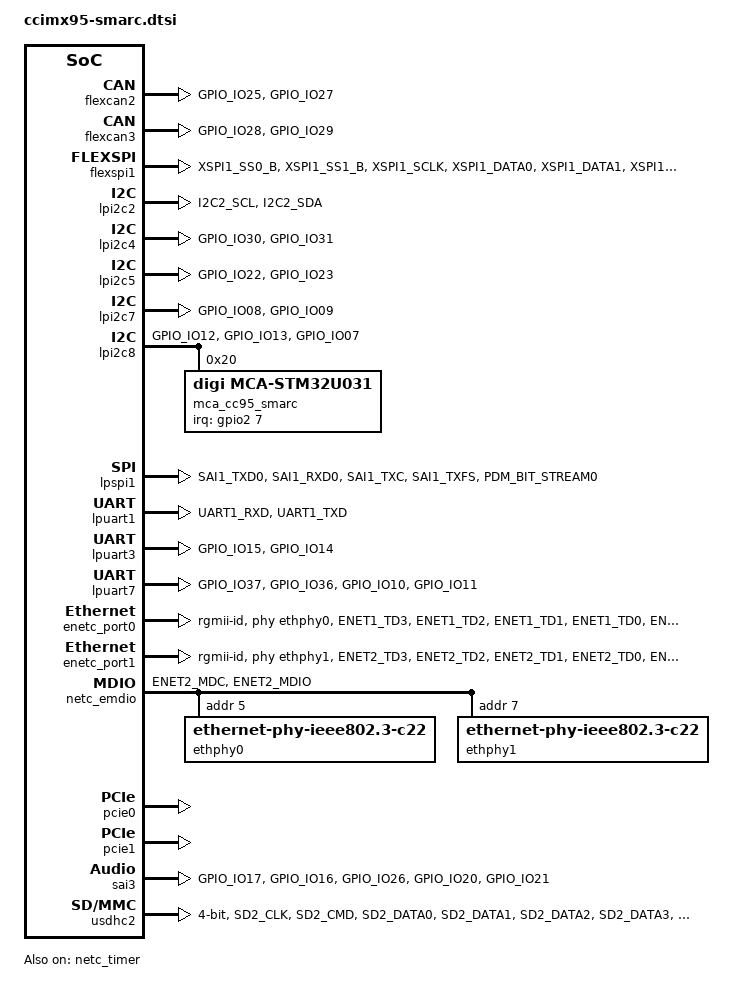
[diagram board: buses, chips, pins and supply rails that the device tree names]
// SPDX-License-Identifier: (GPL-2.0+ OR MIT)
/*
 * Copyright 2026 Digi International Inc.
 */

#include <dt-bindings/phy/phy-imx8-pcie.h>
#include <dt-bindings/pwm/pwm.h>
#include <dt-bindings/usb/pd.h>

&flexcan2 {
	pinctrl-names = "default", "sleep";
	pinctrl-0 = <&pinctrl_flexcan2>;
	pinctrl-1 = <&pinctrl_flexcan2_sleep>;
	status = "okay";
};

&flexcan3 {
	pinctrl-names = "default", "sleep";
	pinctrl-0 = <&pinctrl_flexcan3>;
	pinctrl-1 = <&pinctrl_flexcan3_sleep>;
	status = "okay";
};

&flexspi1 {
	pinctrl-names = "default", "sleep";
	pinctrl-0 = <&pinctrl_flexspi1>;
	pinctrl-1 = <&pinctrl_flexspi1_sleep>;
};

&lpi2c2 {
	pinctrl-names = "default", "sleep";
	pinctrl-0 = <&pinctrl_lpi2c2>;
	pinctrl-1 = <&pinctrl_lpi2c2_sleep>;
};

&lpi2c4 {
	pinctrl-names = "default", "sleep";
	pinctrl-0 = <&pinctrl_lpi2c4>;
	pinctrl-1 = <&pinctrl_lpi2c4_sleep>;
};

&lpi2c5 {
	pinctrl-names = "default", "sleep";
	pinctrl-0 = <&pinctrl_lpi2c5>;
	pinctrl-1 = <&pinctrl_lpi2c5_sleep>;
};

&lpi2c7 {
	pinctrl-names = "default", "sleep";
	pinctrl-0 = <&pinctrl_lpi2c7>;
	pinctrl-1 = <&pinctrl_lpi2c7_sleep>;
};

&lpi2c8 {
	pinctrl-names = "default", "sleep";
	pinctrl-0 = <&pinctrl_lpi2c8>, <&pinctrl_mca>;
	pinctrl-1 = <&pinctrl_lpi2c8_sleep>, <&pinctrl_mca>;
	#address-cells = <1>;
	#size-cells = <0>;
	status = "okay";

	mca_cc95_smarc: mca@20 {
		compatible = "digi,mca-stm32u031";
		reg = <0x20>;
		interrupt-parent = <&gpio2>;
		interrupts = <7 IRQ_TYPE_EDGE_FALLING>;
		interrupt-controller;
		#interrupt-cells = <2>;
		pinctrl-names = "default";
		pinctrl-0 = <&pinctrl_mca>;

		mca_gpio: gpio {
			compatible = "digi,mca-gpio";
			gpio-controller;
			#gpio-cells = <2>;

			interrupt-parent = <&mca_cc95_smarc>;
			interrupt-controller;
			#interrupt-cells = <2>;

			/* Disable all mca GPIOs as power off wake up sources */
			pwroff-wakeup-capable-ios = <>;
		};

		rtc {
			compatible = "digi,mca-rtc";
		};

		wdt {
			compatible = "digi,mca-wdt";
			digi,full-reset;
		};

		gpio_wdt: gpio-wdt {
			compatible = "digi,mca-gpio-wdt";
			#address-cells = <1>;
			#size-cells = <0>;
			status = "disabled";

			gpio_wdt0: gpio-wdt@210 {
				reg = <0x210>;
				status = "disabled";
			};

			gpio_wdt1: gpio-wdt@220 {
				reg = <0x220>;
				status = "disabled";
			};

			gpio_wdt2: gpio-wdt@230 {
				reg = <0x230>;
				status = "disabled";
			};

			gpio_wdt3: gpio-wdt@240 {
				reg = <0x240>;
				status = "disabled";
			};
		};

		pwrkey {
			compatible = "digi,mca-smarc-pwrkey";
			digi,key-power;
			digi,key-power-up;
			digi,key-sleep;
			digi,debounce-ms = <100>;
			digi,pwroff-delay-sec = <6>;
		};
	};
};

&lpspi1 {
	pinctrl-names = "default", "sleep";
	pinctrl-0 = <&pinctrl_lpspi1>;
	pinctrl-1 = <&pinctrl_lpspi1_sleep>;
	num-cs = <2>;
	cs-gpios = <&gpio1 11 GPIO_ACTIVE_LOW>,	/* CS0 */
		   <&gpio1 9 GPIO_ACTIVE_LOW>;	/* CS1 */
};

&lpuart1 {
	pinctrl-names = "default";
	pinctrl-0 = <&pinctrl_uart1>;
};

&lpuart3 {
	pinctrl-names = "default";
	pinctrl-0 = <&pinctrl_uart3>;
};

&lpuart7 {
	pinctrl-names = "default";
	pinctrl-0 = <&pinctrl_uart7>;
};

&enetc_port0 {
	pinctrl-names = "default", "sleep";
	pinctrl-0 = <&pinctrl_enetc0>;
	pinctrl-1 = <&pinctrl_enetc0_sleep>;
	phy-handle = <&ethphy0>;
	phy-mode = "rgmii-id";
	status = "okay";
};

&enetc_port1 {
	pinctrl-names = "default", "sleep";
	pinctrl-0 = <&pinctrl_enetc1>;
	pinctrl-1 = <&pinctrl_enetc1_sleep>;
	phy-handle = <&ethphy1>;
	phy-mode = "rgmii-id";
	status = "okay";
};

&netc_emdio {
	pinctrl-names = "default";
	pinctrl-0 = <&pinctrl_emdio>;
	status = "okay";

	ethphy0: ethernet-phy@5 {
		reg = <5>;
		compatible = "ethernet-phy-ieee802.3-c22";
		status = "okay";
	};

	ethphy1: ethernet-phy@7 {
		reg = <7>;
		compatible = "ethernet-phy-ieee802.3-c22";
		status = "okay";
	};
};

&netc_prb_ierb {
	netc-interfaces = <NXP_NETC_RGMII
			   NXP_NETC_RGMII
			   NXP_NETC_SERIAL>;
};

&netc_timer {
	status = "okay";
};

&pcie0 {
	fsl,refclk-pad-mode = <IMX8_PCIE_REFCLK_PAD_OUTPUT>;
	status = "okay";
};

&pcie1 {
	fsl,refclk-pad-mode = <IMX8_PCIE_REFCLK_PAD_OUTPUT>;
	status = "okay";
};

&sai3 {
	#sound-dai-cells = <0>;
	pinctrl-names = "default", "sleep";
	pinctrl-0 = <&pinctrl_sai3>;
	pinctrl-1 = <&pinctrl_sai3_sleep>;
	assigned-clocks = <&scmi_clk IMX95_CLK_AUDIOPLL1_VCO>,
			  <&scmi_clk IMX95_CLK_AUDIOPLL2_VCO>,
			  <&scmi_clk IMX95_CLK_AUDIOPLL1>,
			  <&scmi_clk IMX95_CLK_AUDIOPLL2>,
			  <&scmi_clk IMX95_CLK_SAI3>;
	assigned-clock-parents = <0>, <0>, <0>, <0>,
				 <&scmi_clk IMX95_CLK_AUDIOPLL1>;
	assigned-clock-rates = <3932160000>,
			       <3612672000>, <393216000>,
			       <361267200>, <12288000>;
	fsl,sai-mclk-direction-output;
	status = "okay";
};

/* Disable BBM (i.MX95 RTC and ON/OFF key) */
&scmi_bbm {
	status = "disabled";
};

&usdhc2 {
	pinctrl-names = "default", "state_100mhz", "state_200mhz", "sleep";
	pinctrl-0 = <&pinctrl_usdhc2>, <&pinctrl_usdhc2_gpio>;
	pinctrl-1 = <&pinctrl_usdhc2_100mhz>, <&pinctrl_usdhc2_gpio>;
	pinctrl-2 = <&pinctrl_usdhc2_200mhz>, <&pinctrl_usdhc2_gpio>;
	pinctrl-3 = <&pinctrl_usdhc2_sleep>, <&pinctrl_usdhc2_gpio>;
	vqmmc-supply = <&scmi_vdd_sdio2>;
	cd-gpios = <&gpio3 00 GPIO_ACTIVE_HIGH>;
	fsl,cd-gpio-wakeup-disable;
	bus-width = <4>;
	status = "okay";
};

&vpuctrl {
	boot = <&vpu_boot>;
	sram = <&sram1>;
};

&scmi_iomuxc {
	pinctrl_emdio: emdiogrp{
		fsl,pins = <
			IMX95_PAD_ENET2_MDC__NETCMIX_TOP_NETC_MDC	0x57e
			IMX95_PAD_ENET2_MDIO__NETCMIX_TOP_NETC_MDIO	0x97e
		>;
	};

	pinctrl_enetc0: enetc0grp {
		fsl,pins = <
			IMX95_PAD_ENET1_TD3__NETCMIX_TOP_ETH0_RGMII_TD3		0x57e
			IMX95_PAD_ENET1_TD2__NETCMIX_TOP_ETH0_RGMII_TD2		0x57e
			IMX95_PAD_ENET1_TD1__NETCMIX_TOP_ETH0_RGMII_TD1		0x57e
			IMX95_PAD_ENET1_TD0__NETCMIX_TOP_ETH0_RGMII_TD0		0x57e
			IMX95_PAD_ENET1_TX_CTL__NETCMIX_TOP_ETH0_RGMII_TX_CTL	0x57e
			IMX95_PAD_ENET1_TXC__NETCMIX_TOP_ETH0_RGMII_TX_CLK	0x58e
			IMX95_PAD_ENET1_RX_CTL__NETCMIX_TOP_ETH0_RGMII_RX_CTL	0x57e
			IMX95_PAD_ENET1_RXC__NETCMIX_TOP_ETH0_RGMII_RX_CLK	0x58e
			IMX95_PAD_ENET1_RD0__NETCMIX_TOP_ETH0_RGMII_RD0		0x57e
			IMX95_PAD_ENET1_RD1__NETCMIX_TOP_ETH0_RGMII_RD1		0x57e
			IMX95_PAD_ENET1_RD2__NETCMIX_TOP_ETH0_RGMII_RD2		0x57e
			IMX95_PAD_ENET1_RD3__NETCMIX_TOP_ETH0_RGMII_RD3		0x57e
		>;
	};

	pinctrl_enetc0_sleep: enetc0grp-sleep {
		fsl,pins = <
			IMX95_PAD_ENET1_TD3__GPIO4_IO_BIT2		0x200
			IMX95_PAD_ENET1_TD2__GPIO4_IO_BIT3		0x200
			IMX95_PAD_ENET1_TD1__GPIO4_IO_BIT4		0x200
			IMX95_PAD_ENET1_TD0__GPIO4_IO_BIT5		0x200
			IMX95_PAD_ENET1_TX_CTL__GPIO4_IO_BIT6		0x200
			IMX95_PAD_ENET1_TXC__GPIO4_IO_BIT7		0x200
			IMX95_PAD_ENET1_RX_CTL__GPIO4_IO_BIT8		0x200
			IMX95_PAD_ENET1_RXC__GPIO4_IO_BIT9		0x200
			IMX95_PAD_ENET1_RD0__GPIO4_IO_BIT10		0x200
			IMX95_PAD_ENET1_RD1__GPIO4_IO_BIT11		0x200
			IMX95_PAD_ENET1_RD2__GPIO4_IO_BIT12		0x200
			IMX95_PAD_ENET1_RD3__GPIO4_IO_BIT13		0x200
		>;
	};

	pinctrl_enetc1: enetc1grp {
		fsl,pins = <
			IMX95_PAD_ENET2_TD3__NETCMIX_TOP_ETH1_RGMII_TD3		0x57e
			IMX95_PAD_ENET2_TD2__NETCMIX_TOP_ETH1_RGMII_TD2		0x57e
			IMX95_PAD_ENET2_TD1__NETCMIX_TOP_ETH1_RGMII_TD1		0x57e
			IMX95_PAD_ENET2_TD0__NETCMIX_TOP_ETH1_RGMII_TD0		0x57e
			IMX95_PAD_ENET2_TX_CTL__NETCMIX_TOP_ETH1_RGMII_TX_CTL	0x58e
			IMX95_PAD_ENET2_TXC__NETCMIX_TOP_ETH1_RGMII_TX_CLK	0x5fe
			IMX95_PAD_ENET2_RX_CTL__NETCMIX_TOP_ETH1_RGMII_RX_CTL	0x58e
			IMX95_PAD_ENET2_RXC__NETCMIX_TOP_ETH1_RGMII_RX_CLK	0x5fe
			IMX95_PAD_ENET2_RD0__NETCMIX_TOP_ETH1_RGMII_RD0		0x57e
			IMX95_PAD_ENET2_RD1__NETCMIX_TOP_ETH1_RGMII_RD1		0x57e
			IMX95_PAD_ENET2_RD2__NETCMIX_TOP_ETH1_RGMII_RD2		0x57e
			IMX95_PAD_ENET2_RD3__NETCMIX_TOP_ETH1_RGMII_RD3		0x57e
		>;
	};

	pinctrl_enetc1_sleep: enetc1grpsleep {
		fsl,pins = <
			IMX95_PAD_ENET2_TD3__GPIO4_IO_BIT16		0x200
			IMX95_PAD_ENET2_TD2__GPIO4_IO_BIT17		0x200
			IMX95_PAD_ENET2_TD1__GPIO4_IO_BIT18		0x200
			IMX95_PAD_ENET2_TD0__GPIO4_IO_BIT19		0x200
			IMX95_PAD_ENET2_TX_CTL__GPIO4_IO_BIT20		0x200
			IMX95_PAD_ENET2_TXC__GPIO4_IO_BIT21		0x200
			IMX95_PAD_ENET2_RX_CTL__GPIO4_IO_BIT22		0x200
			IMX95_PAD_ENET2_RXC__GPIO4_IO_BIT23		0x200
			IMX95_PAD_ENET2_RD0__GPIO4_IO_BIT24		0x200
			IMX95_PAD_ENET2_RD1__GPIO4_IO_BIT25		0x200
			IMX95_PAD_ENET2_RD2__GPIO4_IO_BIT26		0x200
			IMX95_PAD_ENET2_RD3__GPIO4_IO_BIT27		0x200
		>;
	};

	pinctrl_flexcan2: flexcan2grp {
		fsl,pins = <
			IMX95_PAD_GPIO_IO25__CAN2_TX			0x39e
			IMX95_PAD_GPIO_IO27__CAN2_RX			0x39e
		>;
	};

	pinctrl_flexcan2_sleep: flexcan2grpsleep {
		fsl,pins = <
			IMX95_PAD_GPIO_IO25__GPIO2_IO_BIT25		0x200
			IMX95_PAD_GPIO_IO27__GPIO2_IO_BIT27		0x200
		>;
	};

	pinctrl_flexcan3: flexcan3grp {
		fsl,pins = <
			IMX95_PAD_GPIO_IO28__CAN3_TX			0x39e
			IMX95_PAD_GPIO_IO29__CAN3_RX			0x39e
		>;
	};

	pinctrl_flexcan3_sleep: flexcan3grpsleep {
		fsl,pins = <
			IMX95_PAD_GPIO_IO28__GPIO2_IO_BIT28		0x200
			IMX95_PAD_GPIO_IO29__GPIO2_IO_BIT29		0x200
		>;
	};

	pinctrl_flexspi1: flexspi1grp {
		fsl,pins = <
			IMX95_PAD_XSPI1_SS0_B__GPIO5_IO_BIT10		0x31e
			IMX95_PAD_XSPI1_SS1_B__GPIO5_IO_BIT11		0x31e
			IMX95_PAD_XSPI1_SCLK__FLEXSPI1_A_SCLK		0x3fe
			IMX95_PAD_XSPI1_DATA0__FLEXSPI1_A_DATA_BIT0	0x3fe
			IMX95_PAD_XSPI1_DATA1__FLEXSPI1_A_DATA_BIT1	0x3fe
			IMX95_PAD_XSPI1_DATA2__FLEXSPI1_A_DATA_BIT2	0x3fe
			IMX95_PAD_XSPI1_DATA3__FLEXSPI1_A_DATA_BIT3	0x3fe
		>;
	};

	pinctrl_flexspi1_sleep: flexspi1grpsleep {
		fsl,pins = <
			IMX95_PAD_XSPI1_SS0_B__GPIO5_IO_BIT10		0x200
			IMX95_PAD_XSPI1_SS1_B__GPIO5_IO_BIT11		0x200
			IMX95_PAD_XSPI1_SCLK__GPIO5_IO_BIT9		0x200
			IMX95_PAD_XSPI1_DATA0__GPIO5_IO_BIT0		0x200
			IMX95_PAD_XSPI1_DATA1__GPIO5_IO_BIT1		0x200
			IMX95_PAD_XSPI1_DATA2__GPIO5_IO_BIT2		0x200
			IMX95_PAD_XSPI1_DATA3__GPIO5_IO_BIT3		0x200
		>;
	};

	pinctrl_lpi2c2: lpi2c2grp {
		fsl,pins = <
			IMX95_PAD_I2C2_SCL__AONMIX_TOP_LPI2C2_SCL	0x40000b9e
			IMX95_PAD_I2C2_SDA__AONMIX_TOP_LPI2C2_SDA	0x40000b9e
		>;
	};

	pinctrl_lpi2c2_sleep: lpi2c2grpsleep {
		fsl,pins = <
			IMX95_PAD_I2C2_SCL__AONMIX_TOP_GPIO1_IO_BIT2	0x200
			IMX95_PAD_I2C2_SDA__AONMIX_TOP_GPIO1_IO_BIT3	0x200
		>;
	};

	pinctrl_lpi2c4: lpi2c4grp {
		fsl,pins = <
			IMX95_PAD_GPIO_IO30__LPI2C4_SDA			0x40000b9e
			IMX95_PAD_GPIO_IO31__LPI2C4_SCL			0x40000b9e
		>;
	};

	pinctrl_lpi2c4_sleep: lpi2c4grpsleep {
		fsl,pins = <
			IMX95_PAD_GPIO_IO30__GPIO2_IO_BIT30		0x200
			IMX95_PAD_GPIO_IO31__GPIO2_IO_BIT31		0x200
		>;
	};

	pinctrl_lpi2c5: lpi2c5grp {
		fsl,pins = <
			IMX95_PAD_GPIO_IO22__LPI2C5_SDA			0x40000b9e
			IMX95_PAD_GPIO_IO23__LPI2C5_SCL			0x40000b9e
		>;
	};

	pinctrl_lpi2c5_sleep: lpi2c5grpsleep {
		fsl,pins = <
			IMX95_PAD_GPIO_IO22__GPIO2_IO_BIT22		0x200
			IMX95_PAD_GPIO_IO23__GPIO2_IO_BIT23		0x200
		>;
	};

	pinctrl_lpi2c7: lpi2c7grp {
		fsl,pins = <
			IMX95_PAD_GPIO_IO08__LPI2C7_SDA			0x40000b9e
			IMX95_PAD_GPIO_IO09__LPI2C7_SCL			0x40000b9e
		>;
	};

	pinctrl_lpi2c7_sleep: lpi2c7grpsleep {
		fsl,pins = <
			IMX95_PAD_GPIO_IO08__GPIO2_IO_BIT8		0x200
			IMX95_PAD_GPIO_IO09__GPIO2_IO_BIT9		0x200
		>;
	};

	pinctrl_lpi2c8: lpi2c8grp {
		fsl,pins = <
			IMX95_PAD_GPIO_IO12__LPI2C8_SDA			0x40000b9e
			IMX95_PAD_GPIO_IO13__LPI2C8_SCL			0x40000b9e
		>;
	};

	pinctrl_lpi2c8_sleep: lpi2c8grpsleep {
		fsl,pins = <
			IMX95_PAD_GPIO_IO12__GPIO2_IO_BIT12		0x200
			IMX95_PAD_GPIO_IO13__GPIO2_IO_BIT13		0x200
		>;
	};

	pinctrl_lpspi1: lpspi1grp {
		fsl,pins = <
			IMX95_PAD_SAI1_TXD0__AONMIX_TOP_LPSPI1_SCK		0x3fe
			IMX95_PAD_SAI1_RXD0__AONMIX_TOP_LPSPI1_SOUT		0x3fe
			IMX95_PAD_SAI1_TXC__AONMIX_TOP_LPSPI1_SIN		0x3fe
			/* CS0 */
			IMX95_PAD_SAI1_TXFS__AONMIX_TOP_GPIO1_IO_BIT11		0x31e
			/* CS1 */
			IMX95_PAD_PDM_BIT_STREAM0__AONMIX_TOP_GPIO1_IO_BIT9	0x31e
		>;
	};

	pinctrl_lpspi1_sleep: lpspi1grpsleep {
		fsl,pins = <
			IMX95_PAD_PDM_BIT_STREAM0__AONMIX_TOP_GPIO1_IO_BIT9	0x200
			IMX95_PAD_SAI1_TXFS__AONMIX_TOP_GPIO1_IO_BIT11		0x200
			IMX95_PAD_SAI1_TXD0__AONMIX_TOP_GPIO1_IO_BIT13		0x200
			IMX95_PAD_SAI1_RXD0__AONMIX_TOP_GPIO1_IO_BIT14		0x200
			IMX95_PAD_SAI1_TXC__AONMIX_TOP_GPIO1_IO_BIT12		0x200
		>;
	};

	pinctrl_mca: mcagrp {
		fsl,pins = <
			/* MCA/PMIC interrupt */
			IMX95_PAD_GPIO_IO07__GPIO2_IO_BIT7		0x31e
		>;
	};

	pinctrl_sai3: sai3grp {
		fsl,pins = <
			IMX95_PAD_GPIO_IO17__SAI3_MCLK			0x31e
			IMX95_PAD_GPIO_IO16__SAI3_TX_BCLK		0x31e
			IMX95_PAD_GPIO_IO26__SAI3_TX_SYNC		0x31e
			IMX95_PAD_GPIO_IO20__SAI3_RX_DATA_BIT0		0x31e
			IMX95_PAD_GPIO_IO21__SAI3_TX_DATA_BIT0		0x31e
		>;
	};

	pinctrl_sai3_sleep: sai3grpsleep {
		fsl,pins = <
			IMX95_PAD_GPIO_IO17__GPIO2_IO_BIT17		0x200
			IMX95_PAD_GPIO_IO16__GPIO2_IO_BIT16		0x200
			IMX95_PAD_GPIO_IO26__GPIO2_IO_BIT26		0x200
			IMX95_PAD_GPIO_IO20__GPIO2_IO_BIT20		0x200
			IMX95_PAD_GPIO_IO21__GPIO2_IO_BIT21		0x200
		>;
	};

	pinctrl_uart1: uart1grp {
		fsl,pins = <
			IMX95_PAD_UART1_RXD__AONMIX_TOP_LPUART1_RX	0x31e
			IMX95_PAD_UART1_TXD__AONMIX_TOP_LPUART1_TX	0x31e
		>;
	};

	pinctrl_uart3: uart3grp {
		fsl,pins = <
			IMX95_PAD_GPIO_IO15__LPUART3_RX			0x31e
			IMX95_PAD_GPIO_IO14__LPUART3_TX			0x31e
		>;
	};

	pinctrl_uart7: uart7grp {
		fsl,pins = <
			IMX95_PAD_GPIO_IO37__LPUART7_RX			0x31e
			IMX95_PAD_GPIO_IO36__LPUART7_TX			0x31e
			IMX95_PAD_GPIO_IO10__LPUART7_CTS_B		0x31e
			IMX95_PAD_GPIO_IO11__LPUART7_RTS_B		0x31e
		>;
	};

	pinctrl_usdhc2_gpio: usdhc2gpiogrp {
		fsl,pins = <
			IMX95_PAD_SD2_CD_B__GPIO3_IO_BIT0		0x31e
		>;
	};

	pinctrl_usdhc2: usdhc2grp {
		fsl,pins = <
			IMX95_PAD_SD2_CLK__USDHC2_CLK			0x158e
			IMX95_PAD_SD2_CMD__USDHC2_CMD			0x138e
			IMX95_PAD_SD2_DATA0__USDHC2_DATA0		0x138e
			IMX95_PAD_SD2_DATA1__USDHC2_DATA1		0x138e
			IMX95_PAD_SD2_DATA2__USDHC2_DATA2		0x138e
			IMX95_PAD_SD2_DATA3__USDHC2_DATA3		0x138e
			IMX95_PAD_SD2_VSELECT__USDHC2_VSELECT		0x51e
		>;
	};

	pinctrl_usdhc2_100mhz: usdhc2-100mhzgrp {
		fsl,pins = <
			IMX95_PAD_SD2_CLK__USDHC2_CLK			0x158e
			IMX95_PAD_SD2_CMD__USDHC2_CMD			0x138e
			IMX95_PAD_SD2_DATA0__USDHC2_DATA0		0x138e
			IMX95_PAD_SD2_DATA1__USDHC2_DATA1		0x138e
			IMX95_PAD_SD2_DATA2__USDHC2_DATA2		0x138e
			IMX95_PAD_SD2_DATA3__USDHC2_DATA3		0x138e
			IMX95_PAD_SD2_VSELECT__USDHC2_VSELECT		0x51e
		>;
	};

	pinctrl_usdhc2_200mhz: usdhc2-200mhzgrp {
		fsl,pins = <
			IMX95_PAD_SD2_CLK__USDHC2_CLK			0x15fe
			IMX95_PAD_SD2_CMD__USDHC2_CMD			0x13fe
			IMX95_PAD_SD2_DATA0__USDHC2_DATA0		0x13fe
			IMX95_PAD_SD2_DATA1__USDHC2_DATA1		0x13fe
			IMX95_PAD_SD2_DATA2__USDHC2_DATA2		0x13fe
			IMX95_PAD_SD2_DATA3__USDHC2_DATA3		0x13fe
			IMX95_PAD_SD2_VSELECT__USDHC2_VSELECT		0x51e
		>;
	};

	pinctrl_usdhc2_sleep: usdhc2grpsleep {
		fsl,pins = <
			IMX95_PAD_SD2_CLK__GPIO3_IO_BIT1		0x200
			IMX95_PAD_SD2_CMD__GPIO3_IO_BIT2		0x200
			IMX95_PAD_SD2_DATA0__GPIO3_IO_BIT3		0x200
			IMX95_PAD_SD2_DATA1__GPIO3_IO_BIT4		0x200
			IMX95_PAD_SD2_DATA2__GPIO3_IO_BIT5		0x200
			IMX95_PAD_SD2_DATA3__GPIO3_IO_BIT6		0x200
			IMX95_PAD_SD2_VSELECT__GPIO3_IO_BIT19		0x200
		>;
	};
};
